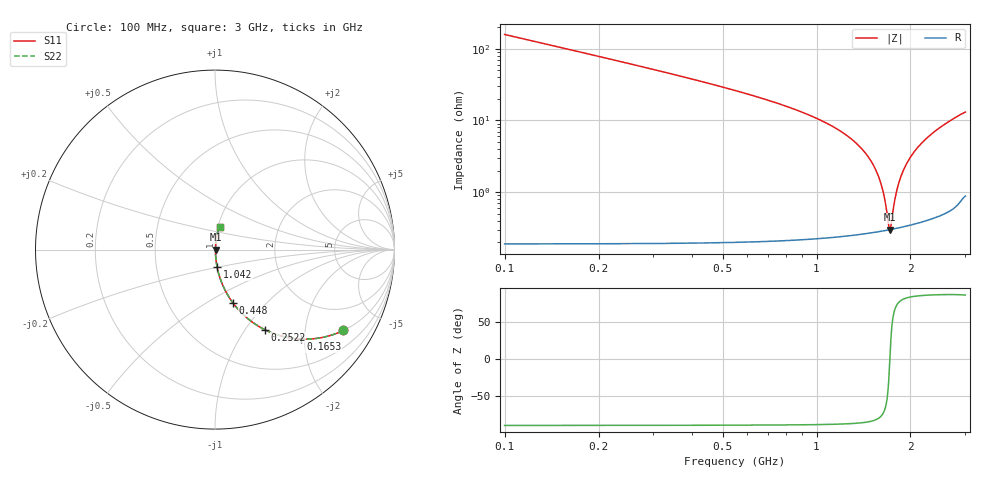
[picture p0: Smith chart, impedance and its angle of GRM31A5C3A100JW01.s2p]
!Murata Part Number: GRM31A5C3A100JW01
!These Parameters are Measured in Series Mode Connection
!Data Generated on Mar 30, 2021
!  o--ll--o
!Port1  Port2
!  o------o
!Operation Temp=25[degC], DC Bias Voltage=0[V]
!Freq. Start=100[MHz] Stop=3[GHz] 401[Steps]
# Hz S RI R 50
!Freq.(Hz) S11(Real) S11(Imag) S21(Real) S21(Imag) S12(Real) S12(Imag) S22(Real) S22(Imag)
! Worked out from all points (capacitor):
!   401 points, 100 MHz to 3 GHz, reference 50 ohm
!   read as one part in series: C = 9.99 pF near 114.5 MHz
!   lowest |Z| = 300 mohm at 1.717 GHz (marker M1)
!   series resonance near 1.718 GHz, so ESL is about 860 pH
!   S11 on the Smith chart (normalised r, x): 100 MHz: 1.00, -3.17; 165.2 MHz: 1.00, -1.91; 252.2 MHz: 1.00, -1.24; 448 MHz: 1.00, -0.66; 1.042 GHz: 1.00, -0.20; 3 GHz: 1.02, +0.26
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1e8  0.7154 -0.4506  0.2846 0.4506  0.2846 0.4506  0.7154 -0.4506
1.6525e8  0.4769 -0.4985  0.5231 0.4985  0.5231 0.4985  0.4769 -0.4985
2.5225e8  0.277 -0.446  0.723 0.446  0.723 0.446  0.277 -0.446
3.3925e8  0.1706 -0.374  0.8294 0.374  0.8294 0.374  0.1706 -0.374
4.48e8  0.1009 -0.2983  0.8991 0.2983  0.8991 0.2983  0.1009 -0.2983
5.8575e8  0.0569 -0.2275  0.9431 0.2275  0.9431 0.2275  0.0569 -0.2275
1.0425e9  0.0118 -0.0971  0.9882 0.0971  0.9882 0.0971  0.0118 -0.0971
1.0715e9  0.0108 -0.0916  0.9892 0.0916  0.9892 0.0916  0.0108 -0.0916
1.36875e9  0.00447 -0.0437  0.9955 0.0437  0.9955 0.0437  0.00447 -0.0437
1.55e9  0.00316 -0.0199  0.9968 0.0199  0.9968 0.0199  0.00316 -0.0199
1.62975e9  0.00297 -0.0102  0.997 0.0102  0.997 0.0102  0.00297 -0.0102
1.65875e9  0.00295 -0.00683  0.9971 0.00683  0.9971 0.00683  0.00295 -0.00683
1.70225e9  0.00297 -0.0018  0.997 0.0018  0.997 0.0018  0.00297 -0.0018
1.71675e9  0.00298 -0.00015  0.997 0.00015  0.997 0.00015  0.00298 -0.00015
1.73125e9  0.00301 0.00149  0.997 -0.00149  0.997 -0.00149  0.00301 0.00149
1.7965e9  0.00318 0.00876  0.9968 -0.00876  0.9968 -0.00876  0.00318 0.00876
1.84725e9  0.00339 0.0143  0.9966 -0.0143  0.9966 -0.0143  0.00339 0.0143
1.927e9  0.00384 0.0228  0.9962 -0.0228  0.9962 -0.0228  0.00384 0.0228
2.03575e9  0.00468 0.034  0.9953 -0.034  0.9953 -0.034  0.00468 0.034
2.23875e9  0.00693 0.0543  0.9931 -0.0543  0.9931 -0.0543  0.00693 0.0543
2.5215e9  0.0115 0.0817  0.9885 -0.0817  0.9885 -0.0817  0.0115 0.0817
3e9  0.0251 0.1263  0.9749 -0.1263  0.9749 -0.1263  0.0251 0.1263
